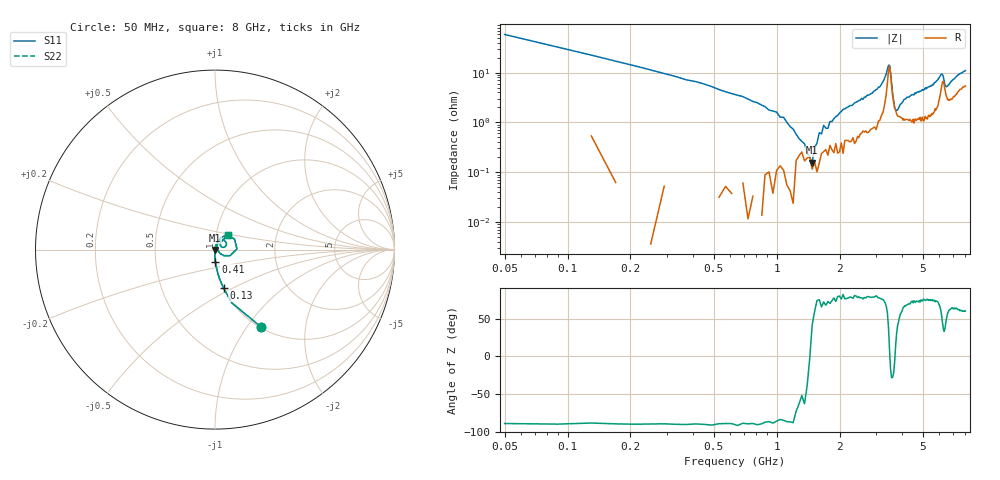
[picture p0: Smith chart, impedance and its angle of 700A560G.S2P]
!  American Technical Ceramics  Date:  3/13/98
!  One Norden Lane
!  Huntington Station,  NY.  11746-2102
!  Tel:  (516) 547-5700  Fax:  (516) 547-5748
!  Part Number  700A560G
!  Description: Porcelain, High Q, Low ESR
!  Application: Bypass, Coupling, Timing, Feedback
!  Tuning, Impedance Match, Blocking
# GHZ S DB R 50
! Freq  |S11|  S11 Ph  |S21|  S21 Ph  |S12|  S12 Ph  |S22|  S22 Ph
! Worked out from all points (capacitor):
!   201 points, 50 MHz to 8 GHz, reference 50 ohm
!   read as one part in series: C = 54.3 pF near 90 MHz
!   lowest |Z| = 155 mohm at 1.48 GHz (marker M1)
!   series resonance near 1.444 GHz, so ESL is about 220 pH
!   S11 on the Smith chart (normalised r, x): 50 MHz: 1.01, -1.17; 130 MHz: 1.00, -0.45; 410 MHz: 1.00, -0.13; 8 GHz: 1.14, +0.19
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0.05  -6.00 -59.3  -1.32 30.1  -1.32 30.1  -6.00 -59.3
0.13  -13.17 -77.5  -0.31 12.5  -0.31 12.5  -13.17 -77.5
0.41  -23.49 -88.0  -0.04 3.7  -0.04 3.7  -23.49 -88.0
1.16  -38.42 -90.8  -0.01 0.3  -0.01 0.3  -38.42 -90.8
1.4  -47.60 -84.5  -0.03 -0.1  -0.03 -0.1  -47.60 -84.5
1.44  -48.17 -80.9  -0.03 -0.2  -0.03 -0.2  -48.17 -80.9
1.48  -54.27 -90.3  -0.02 -0.2  -0.02 -0.2  -54.27 -90.3
1.56  -59.10 -37.4  -0.01 -0.5  -0.01 -0.5  -59.10 -37.4
1.6  -54.40 65.4  -0.02 -0.6  -0.02 -0.6  -54.40 65.4
1.64  -54.48 44.9  -0.03 -0.5  -0.03 -0.5  -54.48 44.9
1.68  -47.73 81.0  -0.04 -0.7  -0.04 -0.7  -47.73 81.0
1.88  -40.99 79.4  -0.03 -0.8  -0.03 -0.8  -40.99 79.4
2.71  -30.34 74.4  -0.05 -2.3  -0.05 -2.3  -30.34 74.4
3.19  -25.13 69.3  -0.12 -3.6  -0.12 -3.6  -25.13 69.3
3.47  -18.25 1.8  -1.12 -1.8  -1.12 -1.8  -18.25 1.8
3.71  -35.15 -10.7  -0.15 -0.7  -0.15 -0.7  -35.15 -10.7
4.03  -34.25 50.7  -0.09 -1.9  -0.09 -1.9  -34.25 50.7
5.38  -29.02 65.1  -0.12 -3.9  -0.12 -3.9  -29.02 65.1
6.17  -22.70 38.1  -0.49 -5.4  -0.49 -5.4  -22.70 38.1
6.45  -28.33 25.3  -0.33 -3.1  -0.33 -3.1  -28.33 25.3
6.69  -27.02 48.4  -0.24 -3.8  -0.24 -3.8  -27.02 48.4
8  -19.32 48.0  -0.37 -5.4  -0.37 -5.4  -19.32 48.0
